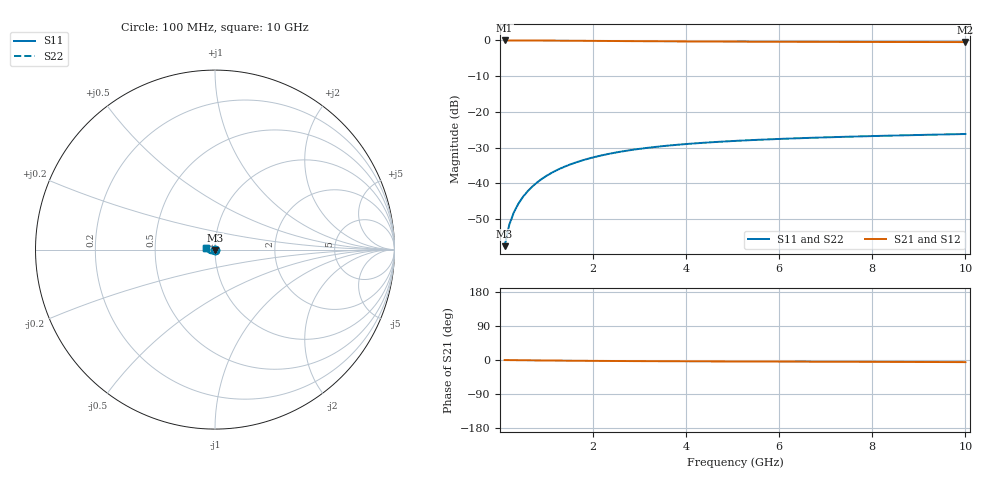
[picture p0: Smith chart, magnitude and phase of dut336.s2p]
! Touchstone file exported from HFSS 2024.1.0
!  File:  C:/UserFiles/LocalFiles/RDL_TSV_Batchsim/temp_TSV1_336_1779618416.aedt
!  Generated:  06:33:49 PM May 24, 2026
!  Design:  TSV1
!  Project:  temp_TSV1_336_1779618416
!  Setup:  Setup1
!  Solution:  Sweep
! Variables:
!  dtsv = 10.29um
!  hbump = 3um
!  htsv = 86.73um
!  lrdl = 252.1521522um
!  p = 40
!  p1 = 53.99um
!  t = 500um
!  trdl = 3um
!  wrdl = 24.89489489um
# GHz S MA R 50.000000
! Terminal data exported
! Port[1] = TSV22_T1
! Port[2] = TSV22_T2
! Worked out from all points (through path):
!   100 points, 100 MHz to 10 GHz, reference 50 ohm
!   highest |S21| = 0.00 dB at 100 MHz (marker M1); lowest = -0.5 dB at 10 GHz (marker M2)
!   lowest |S11| = -57.6 dB at 100 MHz (marker M3), VSWR 1.00, Z = 50 - j0.132 ohm
!   |S11| at or under -10 dB: start of sweep to end of sweep
!   |S22| runs from -57.6 to -26.2 dB; largest |S21 - S12| = 4.1e-15
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0.1  0.00132 -85.7  0.9998 -0.1  0.9998 -0.1  0.00132 -85.7
! Gamma 0 0 0 0
! Port Impedance 50 0 50 0
0.2  0.002628 -90.6  0.9997 -0.3  0.9997 -0.3  0.002628 -90.6
0.3  0.003937 -93.4  0.9994 -0.4  0.9994 -0.4  0.003937 -93.4
0.4  0.00524 -95.8  0.9991 -0.5  0.9991 -0.5  0.00524 -95.8
0.5  0.006534 -98.0  0.9987 -0.7  0.9987 -0.7  0.006534 -98.0
0.6  0.007814 -100.1  0.9982 -0.8  0.9982 -0.8  0.007814 -100.1
0.7  0.009076 -102.2  0.9977 -0.9  0.9977 -0.9  0.009076 -102.2
0.8  0.01032 -104.1  0.9971 -1.1  0.9971 -1.1  0.01032 -104.1
0.9  0.01154 -106.1  0.9964 -1.2  0.9964 -1.2  0.01154 -106.1
1.1  0.0139 -109.8  0.9949 -1.4  0.9949 -1.4  0.0139 -109.8
1.4  0.01723 -115.2  0.9923 -1.7  0.9923 -1.7  0.01723 -115.2
1.6  0.0193 -118.6  0.9904 -1.9  0.9904 -1.9  0.0193 -118.6
1.8  0.02124 -121.8  0.9885 -2.1  0.9885 -2.1  0.02124 -121.8
2.1  0.02392 -126.4  0.9855 -2.4  0.9855 -2.4  0.02392 -126.4
2.5  0.02707 -132.1  0.9816 -2.6  0.9816 -2.6  0.02707 -132.1
2.9  0.02978 -137.3  0.9778 -2.9  0.9778 -2.9  0.02978 -137.3
3.4  0.03265 -143.2  0.9736 -3.2  0.9736 -3.2  0.03265 -143.2
4.2  0.03629 -151.3  0.9678 -3.5  0.9678 -3.5  0.03629 -151.3
5.1  0.0394 -159.1  0.9626 -3.9  0.9626 -3.9  0.0394 -159.1
6.7  0.04339 -170.3  0.9562 -4.4  0.9562 -4.4  0.04339 -170.3
8.4  0.04654 -179.8  0.9518 -5.0  0.9518 -5.0  0.04654 -179.8
10  0.04904 172.7  0.9489 -5.6  0.9489 -5.6  0.04904 172.7
